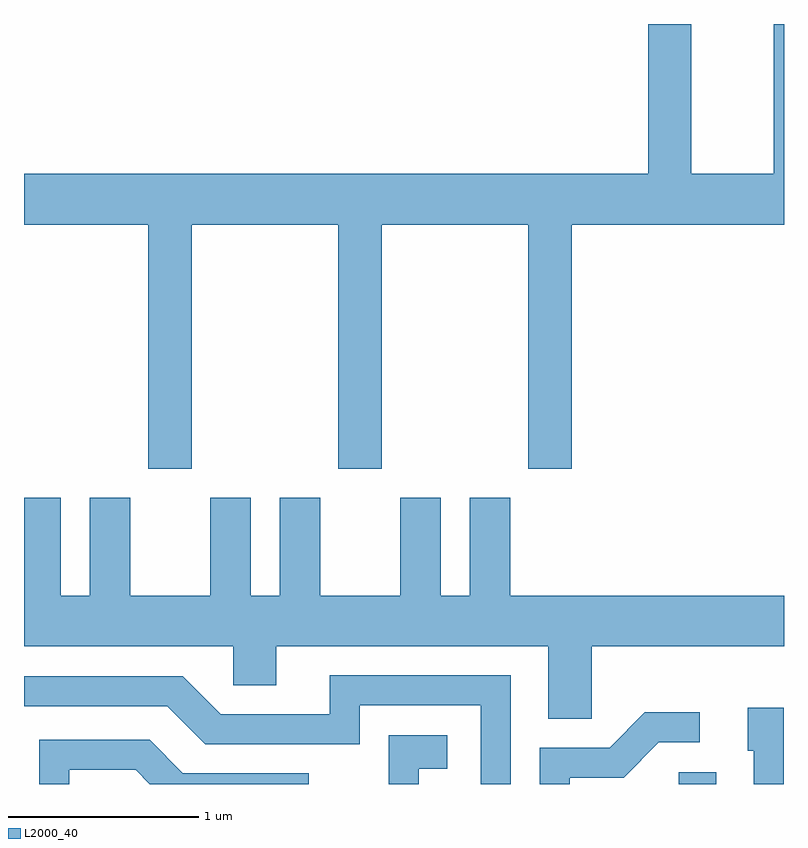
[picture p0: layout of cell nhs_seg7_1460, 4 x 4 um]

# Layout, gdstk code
import gdstk
lib = gdstk.Library(unit=1e-6, precision=1e-09)
def R(c, l, rs):  # rectangles x0, y0, x1, y1
    for r in rs: c.add(gdstk.rectangle(r[:2], r[2:], *l))
def P(c, l, *ps):  # polygons
    for p in ps: c.add(gdstk.Polygon(p, *l))
L2000_40 = (2000, 40)

nhs_seg7_1460 = lib.new_cell('nhs_seg7_1460')
R(nhs_seg7_1460, L2000_40, [(233.056,1720.252,233.254,1720.314)])
P(nhs_seg7_1460, L2000_40, [(230.494,1723.196),(231.266,1723.196),(231.266,1721.911),(231.494,1721.911),(231.494,1723.196),(232.266,1723.196),(232.266,1721.911),(232.494,1721.911),(232.494,1723.196),(233.611,1723.196),(233.611,1724.252),(233.556,1724.252),(233.556,1723.464),(233.124,1723.464),(233.124,1724.252),(232.896,1724.252),(232.896,1723.464),(229.611,1723.464),(229.611,1723.196),(230.266,1723.196),(230.266,1721.911),(230.494,1721.911)],
  [(232.599,1720.976),(233.611,1720.976),(233.611,1721.244),(232.169,1721.244),(232.169,1721.759),(231.956,1721.759),(231.956,1721.244),(231.804,1721.244),(231.804,1721.759),(231.591,1721.759),(231.591,1721.244),(231.169,1721.244),(231.169,1721.759),(230.956,1721.759),(230.956,1721.244),(230.804,1721.244),(230.804,1721.759),(230.591,1721.759),(230.591,1721.244),(230.169,1721.244),(230.169,1721.759),(229.956,1721.759),(229.956,1721.244),(229.804,1721.244),(229.804,1721.759),(229.611,1721.759),(229.611,1720.976),(230.711,1720.976),(230.711,1720.771),(230.939,1720.771),(230.939,1720.976),(232.371,1720.976),(232.371,1720.596),(232.599,1720.596)],
  [(232.174,1720.824),(231.221,1720.824),(231.221,1720.619),(230.647,1720.619),(230.447,1720.819),(229.611,1720.819),(229.611,1720.661),(230.364,1720.661),(230.564,1720.461),(231.379,1720.461),(231.379,1720.666),(232.016,1720.666),(232.016,1720.252),(232.174,1720.252)],
  [(233.609,1720.654),(233.421,1720.654),(233.421,1720.426),(233.451,1720.426),(233.451,1720.252),(233.609,1720.252)],
  [(232.484,1720.286),(232.767,1720.286),(232.952,1720.471),(233.168,1720.471),(233.168,1720.629),(232.879,1720.629),(232.694,1720.444),(232.326,1720.444),(232.326,1720.252),(232.484,1720.252)],
  [(231.689,1720.331),(231.839,1720.331),(231.839,1720.509),(231.531,1720.509),(231.531,1720.252),(231.689,1720.252)],
  [(229.849,1720.326),(230.199,1720.326),(230.273,1720.252),(231.109,1720.252),(231.109,1720.309),(230.447,1720.309),(230.272,1720.484),(229.691,1720.484),(229.691,1720.252),(229.849,1720.252)])

lib.write_gds('nhs_seg7_1460.gds')
